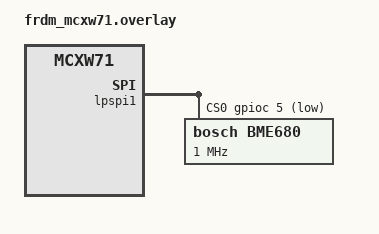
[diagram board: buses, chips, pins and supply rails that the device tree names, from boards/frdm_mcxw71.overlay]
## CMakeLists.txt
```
#
# Copyright (c) 2023 Nordic Semiconductor ASA
#
# SPDX-License-Identifier: Apache-2.0

cmake_minimum_required(VERSION 3.20.0)

find_package(Zephyr REQUIRED HINTS $ENV{ZEPHYR_BASE})
project(bthome_sensor_template)

target_sources(app PRIVATE src/main.c
                            src/sensor_handler.c
)

target_include_directories(app PRIVATE include)
```

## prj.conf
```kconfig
#
# Copyright (c) 2023 Nordic Semiconductor ASA
#
# SPDX-License-Identifier: Apache-2.0
#
CONFIG_BT=y
CONFIG_BT_PERIPHERAL=y
CONFIG_BT_DEVICE_NAME="BTHome"

# Adjust ACL buffer counts to match controller capabilities
# Reduced from 20 to match controller
CONFIG_BT_BUF_ACL_TX_COUNT=8
CONFIG_BT_BUF_EVT_RX_COUNT=10
CONFIG_BT_EXT_ADV=y

CONFIG_SENSOR=y

CONFIG_BME680=n
CONFIG_BME68X_IAQ=y

# Settings - Used to store real-time device configuration to flash.
CONFIG_SETTINGS=y
CONFIG_SETTINGS_FCB=y
CONFIG_FCB=y
CONFIG_FLASH=y
CONFIG_FLASH_PAGE_LAYOUT=y
CONFIG_FLASH_MAP=y
CONFIG_STREAM_FLASH=y
CONFIG_MPU_ALLOW_FLASH_WRITE=y

CONFIG_LOG=y
CONFIG_ASSERT=y
CONFIG_REBOOT=y
CONFIG_FPU=y

# Enable MCUmgr and dependencies.
CONFIG_NET_BUF=y
CONFIG_ZCBOR=y
CONFIG_CRC=y
CONFIG_MCUMGR=y
CONFIG_STREAM_FLASH=y
CONFIG_FLASH_MAP=y

# Some command handlers require a large stack.
CONFIG_SYSTEM_WORKQUEUE_STACK_SIZE=2304
CONFIG_MAIN_STACK_SIZE=2048

# Allow for large Bluetooth data packets.
CONFIG_BT_L2CAP_TX_MTU=498
CONFIG_BT_BUF_ACL_TX_SIZE=502
CONFIG_BT_BUF_ACL_RX_SIZE=502
CONFIG_BT_EXT_ADV_MAX_ADV_SET=50

# Enable the Bluetooth mcumgr transport (unauthenticated).
CONFIG_MCUMGR_TRANSPORT_BT=y
CONFIG_MCUMGR_TRANSPORT_BT_CONN_PARAM_CONTROL=y

# Enable the mcumgr Packet Reassembly feature over Bluetooth and its configuration dependencies.
# MCUmgr buffer size is optimized to fit one SMP packet divided into five Bluetooth Write Commands,
# transmitted with the maximum possible MTU value: 498 bytes.
CONFIG_MCUMGR_TRANSPORT_BT_REASSEMBLY=y
CONFIG_MCUMGR_TRANSPORT_NETBUF_SIZE=2475
CONFIG_MCUMGR_TRANSPORT_WORKQUEUE_STACK_SIZE=4608

# Disable Bluetooth ping support
CONFIG_BT_CTLR_LE_PING=n

# Enable most core commands.
CONFIG_FLASH=y
CONFIG_IMG_MANAGER=y
CONFIG_MCUMGR_GRP_IMG=y
CONFIG_MCUMGR_GRP_OS=y
```

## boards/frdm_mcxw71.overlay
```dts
/*
 * Copyright (c) 2025 Dipak Shetty <shetty.dipak@gmx.com>
 *
 * SPDX-License-Identifier: Apache-2.0
 */

#include <freq.h>

/delete-node/ &mx25r6435fm2il0;
/ {
	aliases {
		gas-sensor= &bme680;
	};
};

&lpspi1 {
	status = "okay";
	cs-gpios = <&gpioc 5 GPIO_ACTIVE_LOW>;

	bme680: bme680@0 {
		compatible = "bosch,bme680";
		spi-max-frequency = <DT_FREQ_M(1)>;
		reg = <0x0>;
		zephyr,pm-device-runtime-auto;
	};
};
```

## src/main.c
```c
/*
 * Copyright (c) 2025 Dipak Shetty <shetty.dipak@gmx.com>
 *
 * SPDX-License-Identifier: Apache-2.0
 */

#include <zephyr/device.h>
#include <zephyr/drivers/sensor.h>

#include <zephyr/bluetooth/bluetooth.h>
#include <zephyr/bluetooth/uuid.h>

#define SERVICE_UUID 0xfcd2

#define SERVICE_DATA_TEMP_HUM_LEN  9
#define SERVICE_DATA_PRESS_GAS_LEN 7

#define IDX_TEMPL      4 /* Index of lo byte of temp in service data*/
#define IDX_TEMPH      5 /* Index of hi byte of temp in service data*/
#define IDX_HUMIDL     7 /* Index of lo byte of humidity in service data*/
#define IDX_HUMIDH     8 /* Index of hi byte of humidity in service data*/
#define IDX_PRESS_LOW  4 /* Index of lo byte of pressure in service data*/
#define IDX_PRESS_MID  5 /* Index of mid byte of pressure in service data*/
#define IDX_PRESS_HIGH 6 /* Index of hi byte of pressure in service data*/

#define ADV_PARAM                                                                                  \
	BT_LE_ADV_PARAM(BT_LE_ADV_OPT_USE_IDENTITY, BT_GAP_ADV_SLOW_INT_MIN,                       \
			BT_GAP_ADV_SLOW_INT_MAX, NULL)

// First packet: Temperature and Humidity
static uint8_t service_data_temp_hum[SERVICE_DATA_TEMP_HUM_LEN] = {
	BT_UUID_16_ENCODE(SERVICE_UUID),
	0x40, // BTHome format - unencrypted, version 2
	0x02, // Temperature ID
	0xc4,
	0x00, // Temperature value placeholder
	0x03, // Humidity ID
	0xbf,
	0x13, // Humidity value placeholder
};

// Second packet: Pressure and Gas resistance
static uint8_t service_data_press_gas[SERVICE_DATA_PRESS_GAS_LEN] = {
	BT_UUID_16_ENCODE(SERVICE_UUID),
	0x40, // BTHome format - unencrypted, version 2
	0x04, // Pressure ID
	0x13,
	0x8A,
	0x01 // Pressure value placeholder
};

// Two advertising datasets
static struct bt_data ad_temp_hum[] = {
	BT_DATA_BYTES(BT_DATA_FLAGS, BT_LE_AD_GENERAL | BT_LE_AD_NO_BREDR),
	BT_DATA(BT_DATA_NAME_COMPLETE, CONFIG_BT_DEVICE_NAME, sizeof(CONFIG_BT_DEVICE_NAME) - 1),
	BT_DATA(BT_DATA_SVC_DATA16, service_data_temp_hum, sizeof(service_data_temp_hum))};

static struct bt_data ad_press_gas[] = {
	BT_DATA_BYTES(BT_DATA_FLAGS, BT_LE_AD_GENERAL | BT_LE_AD_NO_BREDR),
	BT_DATA(BT_DATA_NAME_COMPLETE, CONFIG_BT_DEVICE_NAME, sizeof(CONFIG_BT_DEVICE_NAME) - 1),
	BT_DATA(BT_DATA_SVC_DATA16, service_data_press_gas, sizeof(service_data_press_gas))};

int main(void)
{
	int err;

	const struct device *const dev = DEVICE_DT_GET(DT_ALIAS(gas_sensor));
	struct sensor_value temp;
	struct sensor_value press;
	struct sensor_value humidity;
	struct sensor_value gas_res;

	printk("Starting BTHome sensor template\n");

	if (!device_is_ready(dev)) {
		printk("sensor: device not ready.\n");
		return 0;
	}

	printf("Device %p name is %s\n", dev, dev->name);

	/* Initialize the Bluetooth Subsystem */
	err = bt_enable(NULL);
	if (err) {
		printk("Bluetooth init failed (err %d)\n", err);
		return 0;
	}

	/* Start advertising */
	err = bt_le_adv_start(ADV_PARAM, ad_temp_hum, ARRAY_SIZE(ad_temp_hum), NULL, 0);
	if (err) {
		printk("Advertising failed to start (err %d)\n", err);
		return 0;
	}

	for (;;) {
		sensor_sample_fetch(dev);
		sensor_channel_get(dev, SENSOR_CHAN_AMBIENT_TEMP, &temp);
		sensor_channel_get(dev, SENSOR_CHAN_PRESS, &press);
		sensor_channel_get(dev, SENSOR_CHAN_HUMIDITY, &humidity);
		sensor_channel_get(dev, SENSOR_CHAN_GAS_RES, &gas_res);

		printf("T: %d.%06d; P: %d.%06d; H: %d.%06d; G: %d.%06d\n", temp.val1, temp.val2,
		       press.val1, press.val2, humidity.val1, humidity.val2, gas_res.val1,
		       gas_res.val2);

		// Convert temperature to BTHome format (0.01 degree resolution)
		int16_t temp_scaled = temp.val1 * 100 + temp.val2 / 10000;
		service_data_temp_hum[IDX_TEMPH] = (temp_scaled >> 8) & 0xFF; // High byte
		service_data_temp_hum[IDX_TEMPL] = temp_scaled & 0xFF;        // Low byte

		// Convert humidity to BTHome format (0.01% resolution)
		int16_t humidity_scaled = humidity.val1 * 100 + humidity.val2 / 10000;
		service_data_temp_hum[IDX_HUMIDH] = (humidity_scaled >> 8) & 0xFF;
		service_data_temp_hum[IDX_HUMIDL] = humidity_scaled & 0xFF;

		// Convert pressure to BTHome format (0.01 hPa resolution)
		int32_t pressure_scaled = press.val1 * 1000 + press.val2 / 10000;
		service_data_press_gas[IDX_PRESS_LOW] = pressure_scaled & 0xFF;        // Low byte
		service_data_press_gas[IDX_PRESS_MID] = (pressure_scaled >> 8) & 0xFF; // Mid byte
		service_data_press_gas[IDX_PRESS_HIGH] =
			(pressure_scaled >> 16) & 0xFF; // High byte

		err = bt_le_adv_update_data(ad_temp_hum, ARRAY_SIZE(ad_temp_hum), NULL, 0);
		if (err) {
			printk("Failed to update advertising data (err %d: %s)\n", err,
			       strerror(-err));
		}
		// Wait so this data can be advertised for some time
		k_sleep(K_MSEC(BT_GAP_ADV_SLOW_INT_MIN));

		err = bt_le_adv_update_data(ad_press_gas, ARRAY_SIZE(ad_press_gas), NULL, 0);
		if (err) {
			printk("Failed to update advertising data (err %d: %s)\n", err,
			       strerror(-err));
		}

		k_sleep(K_MINUTES(5));
	}
	return 0;
}
```

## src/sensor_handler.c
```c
/*
 * Copyright (c) 2025 Dipak Shetty <shetty.dipak@gmx.com>
 *
 * SPDX-License-Identifier: Apache-2.0
 */

#include <zephyr/kernel.h>
#include <zephyr/device.h>
#include <zephyr/drivers/sensor.h>
#include <drivers/bme68x_iaq.h>
#include <zephyr/bluetooth/bluetooth.h>
#include <zephyr/bluetooth/uuid.h>
#include "sensor_handler.h"

#include <zephyr/logging/log.h>

LOG_MODULE_REGISTER(sensor_handler);

#define SERVICE_UUID 0xFCD2

#define SERVICE_DATA_TEMP_HUM_LEN  9
#define SERVICE_DATA_PRESS_GAS_LEN 7
#define SERVICE_DATA_VOC_LEN       9

#define IDX_TEMPL  4 /* Index of lo byte of temp in service data*/
#define IDX_TEMPH  5 /* Index of hi byte of temp in service data*/
#define IDX_HUMIDL 7 /* Index of lo byte of humidity in service data*/
#define IDX_HUMIDH 8 /* Index of hi byte of humidity in service data*/

#define IDX_PRESS_LOW  4 /* Index of lo byte of pressure in service data*/
#define IDX_PRESS_MID  5 /* Index of mid byte of pressure in service data*/
#define IDX_PRESS_HIGH 6 /* Index of hi byte of pressure in service data*/

#define IDX_VOC_LOW  4 /* Index of lo byte of VOC in service data*/
#define IDX_VOC_HIGH 5 /* Index of hi byte of VOC in service data*/
#define IDX_CO2_HIGH 7 /* Index of hi byte of CO2 in service data*/
#define IDX_CO2_LOW  8 /* Index of lo byte of CO2 in service data*/

/* Forward declarations for work handlers */
static void sensor_work_handler(struct k_work *work);
static K_WORK_DELAYABLE_DEFINE(sensor_advertise_work, sensor_work_handler);
#define SENSOR_WORK_DELAY K_SECONDS(3)

/* First packet: Temperature and Humidity */
static uint8_t service_data_temp_hum[SERVICE_DATA_TEMP_HUM_LEN] = {
	BT_UUID_16_ENCODE(SERVICE_UUID),
	0x40, // BTHome format - unencrypted, version 2
	0x02, // Temperature ID
	0x00, // Placeholder for temperature value
	0x00, // Placeholder for temperature value
	0x03, // Humidity ID
	0x00, // Placeholder for humidity value
	0x00, // Placeholder for humidity value
};

/* Second packet: Pressure */
static uint8_t service_data_press[SERVICE_DATA_PRESS_GAS_LEN] = {
	BT_UUID_16_ENCODE(SERVICE_UUID),
	0x40, // BTHome format - unencrypted, version 2
	0x04, // Pressure ID
	0x00, // Placeholder for pressure value
	0x00, // Placeholder for pressure value
	0x00, // Pressure value placeholder
};

/* Third packet: VOC and CO2 */
static uint8_t service_data_voc_co2[SERVICE_DATA_VOC_LEN] = {
	BT_UUID_16_ENCODE(SERVICE_UUID),
	0x40, // BTHome format - unencrypted, version 2
	0x13, // VOC ID
	0x00, // Placeholder for VOC value
	0x00, // Placeholder for VOC value
	0x12, // CO2 ID
	0x00, // Placeholder for CO2 value
	0x00 // Placeholder for CO2 value
};

#define ADV_PARAM                                                                                  \
BT_LE_ADV_PARAM(BT_LE_ADV_OPT_USE_IDENTITY | BT_LE_ADV_OPT_CONNECTABLE, BT_GAP_ADV_SLOW_INT_MIN,                       \
BT_GAP_ADV_SLOW_INT_MAX, NULL)

/* Advertising data sets */
static struct bt_data ad_temp_hum[] = {
	BT_DATA_BYTES(BT_DATA_FLAGS, BT_LE_AD_GENERAL | BT_LE_AD_NO_BREDR),
	BT_DATA(BT_DATA_NAME_COMPLETE, CONFIG_BT_DEVICE_NAME, sizeof(CONFIG_BT_DEVICE_NAME) - 1),
	BT_DATA(BT_DATA_SVC_DATA16, service_data_temp_hum, sizeof(service_data_temp_hum))
};

static struct bt_data ad_press_gas[] = {
	BT_DATA_BYTES(BT_DATA_FLAGS, BT_LE_AD_GENERAL | BT_LE_AD_NO_BREDR),
	BT_DATA(BT_DATA_NAME_COMPLETE, CONFIG_BT_DEVICE_NAME, sizeof(CONFIG_BT_DEVICE_NAME) - 1),
	BT_DATA(BT_DATA_SVC_DATA16, service_data_press, sizeof(service_data_press))
};

static struct bt_data ad_voc[] = {
	BT_DATA_BYTES(BT_DATA_FLAGS, BT_LE_AD_GENERAL | BT_LE_AD_NO_BREDR),
	BT_DATA(BT_DATA_NAME_COMPLETE, CONFIG_BT_DEVICE_NAME, sizeof(CONFIG_BT_DEVICE_NAME) - 1),
	BT_DATA(BT_DATA_SVC_DATA16, service_data_voc_co2, sizeof(service_data_voc_co2))
};

/* State variables */
const struct device *sensor_dev = DEVICE_DT_GET(DT_ALIAS(gas_sensor));

/* Initialize sensor device */
int init_sensor(void)
{
	int err;

	sensor_dev = DEVICE_DT_GET(DT_ALIAS(gas_sensor));

	if (!device_is_ready(sensor_dev)) {
		LOG_ERR("Sensor device not ready");
		return -ENODEV;
	}

	LOG_INF("Sensor device %p name is %s", sensor_dev, sensor_dev->name);

	/* Start advertising */
	err = bt_le_adv_start(ADV_PARAM, ad_temp_hum, ARRAY_SIZE(ad_temp_hum), NULL, 0);
	if (err) {
		printk("Advertising failed to start (err %d)\n", err);
		return 0;
	}

	/* Schedule initial sensor reading */
	k_work_schedule(&sensor_advertise_work, K_NO_WAIT);
	return 0;
}

/* Work handler for sensor data collection */
static void sensor_work_handler(struct k_work *work)
{
	ARG_UNUSED(work);
	int err;
	struct sensor_value temp;
	struct sensor_value press;
	struct sensor_value humidity;
	struct sensor_value iaq;
	struct sensor_value co2;
	struct sensor_value voc;


	/* Fetch and process sensor data */
	err = sensor_sample_fetch(sensor_dev);
	if (err) {
		LOG_ERR("Failed to fetch sensor sample: %d", err);
		/* Schedule next sensor reading */
		k_work_schedule(&sensor_advertise_work, SENSOR_WORK_DELAY);
	}

	sensor_channel_get(sensor_dev, SENSOR_CHAN_AMBIENT_TEMP, &temp);
	sensor_channel_get(sensor_dev, SENSOR_CHAN_PRESS, &press);
	sensor_channel_get(sensor_dev, SENSOR_CHAN_HUMIDITY, &humidity);
	sensor_channel_get(sensor_dev, SENSOR_CHAN_IAQ, &iaq);
	sensor_channel_get(sensor_dev, SENSOR_CHAN_CO2, &co2);
	sensor_channel_get(sensor_dev, SENSOR_CHAN_VOC, &voc);

	LOG_INF("temp: %d.%06d; press: %d.%06d; humidity: %d.%06d; iaq: %d; CO2: %d.%06d; VOC: %d.%06d",
		temp.val1, temp.val2, press.val1, press.val2, humidity.val1, humidity.val2,
		iaq.val1, co2.val1, co2.val2, voc.val1, voc.val2);

	/* Update advertising data with new sensor values */

	/* Temperature and Humidity data */
	int16_t temp_scaled = temp.val1 * 100 + temp.val2 / 10000;
	service_data_temp_hum[IDX_TEMPH] = (temp_scaled >> 8) & 0xFF;
	service_data_temp_hum[IDX_TEMPL] = temp_scaled & 0xFF;

	int16_t humidity_scaled = humidity.val1 * 100 + humidity.val2 / 10000;
	service_data_temp_hum[IDX_HUMIDH] = (humidity_scaled >> 8) & 0xFF;
	service_data_temp_hum[IDX_HUMIDL] = humidity_scaled & 0xFF;

	/* Pressure data */
	int32_t pressure_scaled = (press.val1 / 100) * 100 + (press.val1 % 100 + press.val2 / 1000000) / 10;
	service_data_press[IDX_PRESS_LOW] = pressure_scaled & 0xFF;
	service_data_press[IDX_PRESS_MID] = (pressure_scaled >> 8) & 0xFF;
	service_data_press[IDX_PRESS_HIGH] = (pressure_scaled >> 16) & 0xFF;

	/* VOC and CO2 data */
	uint16_t voc_scaled = voc.val1 * 100 + voc.val2 / 10000;
	service_data_voc_co2[IDX_VOC_LOW] = voc_scaled & 0xFF;
	service_data_voc_co2[IDX_VOC_HIGH] = (voc_scaled >> 8) & 0xFF;

	uint16_t co2_scaled = co2.val1 + (co2.val2 / 1000000);
	service_data_voc_co2[IDX_CO2_HIGH] = (co2_scaled >> 8) & 0xFF;
	service_data_voc_co2[IDX_CO2_LOW] = co2_scaled & 0xFF;

	err = bt_le_adv_update_data(ad_temp_hum, ARRAY_SIZE(ad_temp_hum), NULL, 0);
	if (err) {
		printk("Failed to update ad_temp_hum advertising data (err %d: %s)\n", err,
		       strerror(-err));
	}
	// Wait so this data can be advertised for some time
	k_sleep(K_MSEC(BT_GAP_ADV_SLOW_INT_MIN));

	err = bt_le_adv_update_data(ad_press_gas, ARRAY_SIZE(ad_press_gas), NULL, 0);
	if (err) {
		printk("Failed to update ad_press_gas advertising data (err %d: %s)\n", err,
		       strerror(-err));
	}

	// Wait so this data can be advertised for some time
	k_sleep(K_MSEC(BT_GAP_ADV_SLOW_INT_MIN));
	err = bt_le_adv_update_data(ad_voc, ARRAY_SIZE(ad_voc), NULL, 0);
	if (err) {
		printk("Failed to update ad_voc advertising data (err %d: %s)\n", err,
		       strerror(-err));
	}

	/* Schedule next sensor reading */
	k_work_schedule(&sensor_advertise_work, SENSOR_WORK_DELAY);
}
```

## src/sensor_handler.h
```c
/*
 * Copyright (c) 2025 Dipak Shetty <shetty.dipak@gmx.com>
 *
 * SPDX-License-Identifier: Apache-2.0
 */

#ifndef SENSOR_HANDLER_H_
#define SENSOR_HANDLER_H_



/**
 * @brief Initialize the sensor device and work items
 *
 * @return 0 on success, negative error code otherwise
 */
int init_sensor(void);

#endif /* SENSOR_HANDLER_H_ */
```
